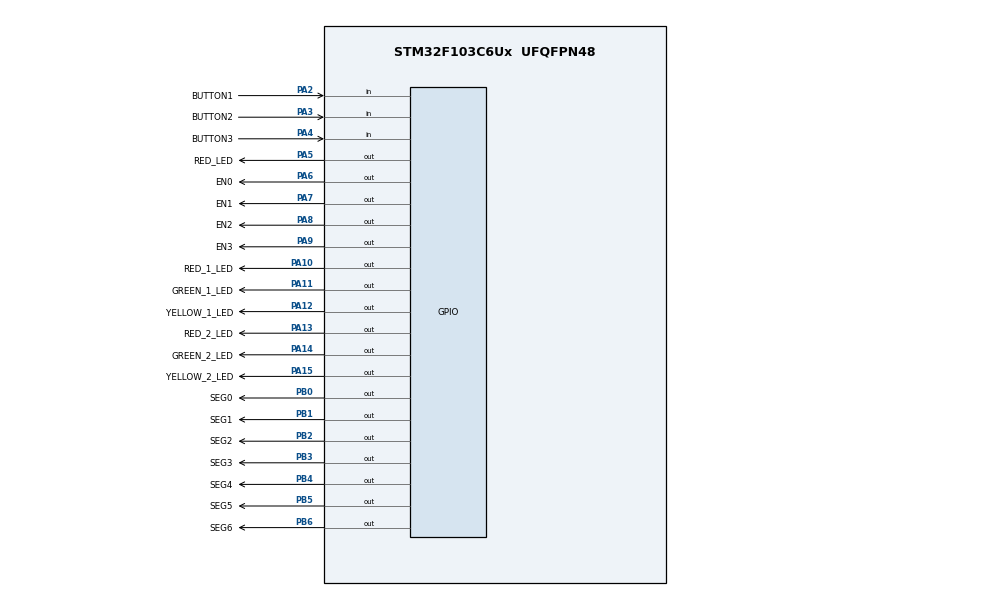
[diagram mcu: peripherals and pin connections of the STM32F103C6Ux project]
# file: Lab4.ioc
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Mcu.Family=STM32F1
Mcu.Name=STM32F103C6Ux
Mcu.Package=UFQFPN48
NVIC.PriorityGroup=NVIC_PRIORITYGROUP_4
NVIC.TIM2_IRQn=true\:0\:0\:false\:false\:true\:true\:true
PA10.GPIO_Label=RED_1_LED
PA10.Signal=GPIO_Output
PA11.GPIO_Label=GREEN_1_LED
PA11.Signal=GPIO_Output
PA12.GPIO_Label=YELLOW_1_LED
PA12.Signal=GPIO_Output
PA13.GPIO_Label=RED_2_LED
PA13.Signal=GPIO_Output
PA14.GPIO_Label=GREEN_2_LED
PA14.Signal=GPIO_Output
PA15.GPIO_Label=YELLOW_2_LED
PA15.Signal=GPIO_Output
PA2.GPIO_Label=BUTTON1
PA2.GPIO_PuPd=GPIO_PULLUP
PA2.Signal=GPIO_Input
PA3.GPIO_Label=BUTTON2
PA3.GPIO_PuPd=GPIO_PULLUP
PA3.Signal=GPIO_Input
PA4.GPIO_Label=BUTTON3
PA4.GPIO_PuPd=GPIO_PULLUP
PA4.Signal=GPIO_Input
PA5.GPIO_Label=RED_LED
PA5.Signal=GPIO_Output
PA6.GPIO_Label=EN0
PA6.Signal=GPIO_Output
PA7.GPIO_Label=EN1
PA7.Signal=GPIO_Output
PA8.GPIO_Label=EN2
PA8.Signal=GPIO_Output
PA9.GPIO_Label=EN3
PA9.Signal=GPIO_Output
PB0.GPIO_Label=SEG0
PB0.Signal=GPIO_Output
PB1.GPIO_Label=SEG1
PB1.Signal=GPIO_Output
PB2.GPIO_Label=SEG2
PB2.Signal=GPIO_Output
PB3.GPIO_Label=SEG3
PB3.Signal=GPIO_Output
PB4.GPIO_Label=SEG4
PB4.Signal=GPIO_Output
PB5.GPIO_Label=SEG5
PB5.Signal=GPIO_Output
PB6.GPIO_Label=SEG6
PB6.Signal=GPIO_Output
ProjectManager.HeapSize=0x200
ProjectManager.StackSize=0x400
ProjectManager.TargetToolchain=STM32CubeIDE
RCC.APB1Freq_Value=8000000
RCC.APB2Freq_Value=8000000
TIM2.Period=9
TIM2.Prescaler=7999
VP_SYS_VS_ND.Mode=No_Debug
VP_TIM2_VS_ClockSourceINT.Mode=Internal
board=custom

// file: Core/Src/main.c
/* USER CODE BEGIN Header */
/**
  ******************************************************************************
  * @file           : main.c
  * @brief          : Main program body
  ******************************************************************************
  * @attention
  *
  * <h2><center>&copy; Copyright (c) 2025 STMicroelectronics.
  * All rights reserved.</center></h2>
  *
  * This software component is licensed by ST under BSD 3-Clause license,
  * the "License"; You may not use this file except in compliance with the
  * License. You may obtain a copy of the License at:
  *                        opensource.org/licenses/BSD-3-Clause
  *
  ******************************************************************************
  */
/* USER CODE END Header */
#include "main.h"

/* USER CODE BEGIN Includes */
#include "scheduler.h"
#include "fsm_manual.h"
#include "fsm_automatic.h"
#include "fsm_config.h"
#include "input_processing.h"
#include "input_reading.h"

#include "led_display.h"
/* USER CODE END Includes */

TIM_HandleTypeDef htim2;

void SystemClock_Config(void);
static void MX_GPIO_Init(void);
static void MX_TIM2_Init(void);

int main(void)
{
  /* USER CODE BEGIN 1 */
	  SCH_Init();
  /* USER CODE END 1 */

  /* MCU Configuration--------------------------------------------------------*/

  /* Reset of all peripherals, Initializes the Flash interface and the Systick. */
  HAL_Init();

  /* Configure the system clock */
  SystemClock_Config();

  /* Initialize all configured peripherals */
  MX_GPIO_Init();
  MX_TIM2_Init();
  /* USER CODE BEGIN 2 */
  HAL_TIM_Base_Start_IT(&htim2);

	SCH_Add_Task(button_reading, 10, 10);
	SCH_Add_Task(button_processing, 10, 10);
	SCH_Add_Task(fsm_automatic, 10, 250);
	SCH_Add_Task(fsm_config, 10, 10);
	SCH_Add_Task(fsm_manual, 10, 250);

  /* USER CODE END 2 */

  /* Infinite loop */
  /* USER CODE BEGIN WHILE */
  while (1)
  {
	  SCH_Dispatch_Tasks();

    /* USER CODE END WHILE */

  }
}

void SystemClock_Config(void)
{
  RCC_OscInitTypeDef RCC_OscInitStruct = {0};
  RCC_ClkInitTypeDef RCC_ClkInitStruct = {0};

  /** Initializes the RCC Oscillators according to the specified parameters
  * in the RCC_OscInitTypeDef structure.
  */
  RCC_OscInitStruct.OscillatorType = RCC_OSCILLATORTYPE_HSI;
  RCC_OscInitStruct.HSIState = RCC_HSI_ON;
  RCC_OscInitStruct.HSICalibrationValue = RCC_HSICALIBRATION_DEFAULT;
  RCC_OscInitStruct.PLL.PLLState = RCC_PLL_NONE;
  if (HAL_RCC_OscConfig(&RCC_OscInitStruct) != HAL_OK)
  {
    Error_Handler();
  }
  /** Initializes the CPU, AHB and APB buses clocks
  */
  RCC_ClkInitStruct.ClockType = RCC_CLOCKTYPE_HCLK|RCC_CLOCKTYPE_SYSCLK
                              |RCC_CLOCKTYPE_PCLK1|RCC_CLOCKTYPE_PCLK2;
  RCC_ClkInitStruct.SYSCLKSource = RCC_SYSCLKSOURCE_HSI;
  RCC_ClkInitStruct.AHBCLKDivider = RCC_SYSCLK_DIV1;
  RCC_ClkInitStruct.APB1CLKDivider = RCC_HCLK_DIV1;
  RCC_ClkInitStruct.APB2CLKDivider = RCC_HCLK_DIV1;

  if (HAL_RCC_ClockConfig(&RCC_ClkInitStruct, FLASH_LATENCY_0) != HAL_OK)
  {
    Error_Handler();
  }
}

static void MX_TIM2_Init(void)
{

  TIM_ClockConfigTypeDef sClockSourceConfig = {0};
  TIM_MasterConfigTypeDef sMasterConfig = {0};

  htim2.Instance = TIM2;
  htim2.Init.Prescaler = 7999;
  htim2.Init.CounterMode = TIM_COUNTERMODE_UP;
  htim2.Init.Period = 9;
  htim2.Init.ClockDivision = TIM_CLOCKDIVISION_DIV1;
  htim2.Init.AutoReloadPreload = TIM_AUTORELOAD_PRELOAD_DISABLE;
  if (HAL_TIM_Base_Init(&htim2) != HAL_OK)
  {
    Error_Handler();
  }
  sClockSourceConfig.ClockSource = TIM_CLOCKSOURCE_INTERNAL;
  if (HAL_TIM_ConfigClockSource(&htim2, &sClockSourceConfig) != HAL_OK)
  {
    Error_Handler();
  }
  sMasterConfig.MasterOutputTrigger = TIM_TRGO_RESET;
  sMasterConfig.MasterSlaveMode = TIM_MASTERSLAVEMODE_DISABLE;
  if (HAL_TIMEx_MasterConfigSynchronization(&htim2, &sMasterConfig) != HAL_OK)
  {
    Error_Handler();
  }

}

static void MX_GPIO_Init(void)
{
  GPIO_InitTypeDef GPIO_InitStruct = {0};

  /* GPIO Ports Clock Enable */
  __HAL_RCC_GPIOA_CLK_ENABLE();
  __HAL_RCC_GPIOB_CLK_ENABLE();

  /*Configure GPIO pin Output Level */
  HAL_GPIO_WritePin(GPIOA, RED_LED_Pin|EN0_Pin|EN1_Pin|EN2_Pin
                          |EN3_Pin|RED_1_LED_Pin|GREEN_1_LED_Pin|YELLOW_1_LED_Pin
                          |RED_2_LED_Pin|GREEN_2_LED_Pin|YELLOW_2_LED_Pin, GPIO_PIN_RESET);

  /*Configure GPIO pin Output Level */
  HAL_GPIO_WritePin(GPIOB, SEG0_Pin|SEG1_Pin|SEG2_Pin|SEG3_Pin
                          |SEG4_Pin|SEG5_Pin|SEG6_Pin, GPIO_PIN_RESET);

  /*Configure GPIO pins : BUTTON1_Pin BUTTON2_Pin BUTTON3_Pin */
  GPIO_InitStruct.Pin = BUTTON1_Pin|BUTTON2_Pin|BUTTON3_Pin;
  GPIO_InitStruct.Mode = GPIO_MODE_INPUT;
  GPIO_InitStruct.Pull = GPIO_PULLUP;
  HAL_GPIO_Init(GPIOA, &GPIO_InitStruct);

  /*Configure GPIO pins : RED_LED_Pin EN0_Pin EN1_Pin EN2_Pin
                           EN3_Pin RED_1_LED_Pin GREEN_1_LED_Pin YELLOW_1_LED_Pin
                           RED_2_LED_Pin GREEN_2_LED_Pin YELLOW_2_LED_Pin */
  GPIO_InitStruct.Pin = RED_LED_Pin|EN0_Pin|EN1_Pin|EN2_Pin
                          |EN3_Pin|RED_1_LED_Pin|GREEN_1_LED_Pin|YELLOW_1_LED_Pin
                          |RED_2_LED_Pin|GREEN_2_LED_Pin|YELLOW_2_LED_Pin;
  GPIO_InitStruct.Mode = GPIO_MODE_OUTPUT_PP;
  GPIO_InitStruct.Pull = GPIO_NOPULL;
  GPIO_InitStruct.Speed = GPIO_SPEED_FREQ_LOW;
  HAL_GPIO_Init(GPIOA, &GPIO_InitStruct);

  /*Configure GPIO pins : SEG0_Pin SEG1_Pin SEG2_Pin SEG3_Pin
                           SEG4_Pin SEG5_Pin SEG6_Pin */
  GPIO_InitStruct.Pin = SEG0_Pin|SEG1_Pin|SEG2_Pin|SEG3_Pin
                          |SEG4_Pin|SEG5_Pin|SEG6_Pin;
  GPIO_InitStruct.Mode = GPIO_MODE_OUTPUT_PP;
  GPIO_InitStruct.Pull = GPIO_NOPULL;
  GPIO_InitStruct.Speed = GPIO_SPEED_FREQ_LOW;
  HAL_GPIO_Init(GPIOB, &GPIO_InitStruct);

}

/* USER CODE BEGIN 4 */
void HAL_TIM_PeriodElapsedCallback(TIM_HandleTypeDef *htim){
	SCH_Update();
}

/* USER CODE END 4 */

void Error_Handler(void)
{
  __disable_irq();
  while (1)
  {
  }
}

/************************ (C) COPYRIGHT STMicroelectronics *****END OF FILE****/
